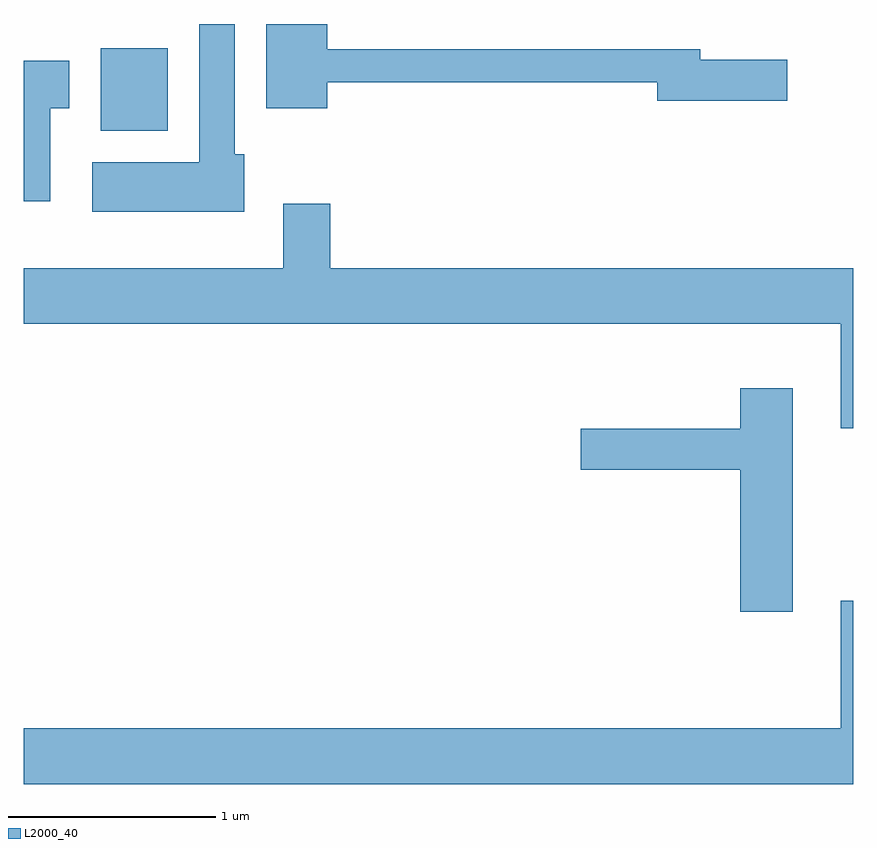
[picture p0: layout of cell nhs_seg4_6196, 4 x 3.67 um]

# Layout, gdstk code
import gdstk
lib = gdstk.Library(unit=1e-6, precision=1e-09)
def R(c, l, rs):  # rectangles x0, y0, x1, y1
    for r in rs: c.add(gdstk.rectangle(r[:2], r[2:], *l))
def P(c, l, *ps):  # polygons
    for p in ps: c.add(gdstk.Polygon(p, *l))
L2000_40 = (2000, 40)

nhs_seg4_6196 = lib.new_cell('nhs_seg4_6196')
R(nhs_seg4_6196, L2000_40, [(367.981,1273.466,368.304,1273.864)])
P(nhs_seg4_6196, L2000_40, [(368.674,1273.354),(368.629,1273.354),(368.629,1273.982),(368.456,1273.982),(368.456,1273.314),(367.941,1273.314),(367.941,1273.076),(368.674,1273.076)],
  [(369.074,1273.701),(370.666,1273.701),(370.666,1273.611),(371.294,1273.611),(371.294,1273.809),(370.874,1273.809),(370.874,1273.859),(369.074,1273.859),(369.074,1273.982),(368.781,1273.982),(368.781,1273.576),(369.074,1273.576)],
  [(367.739,1273.576),(367.829,1273.576),(367.829,1273.804),(367.611,1273.804),(367.611,1273.126),(367.739,1273.126)],
  [(371.611,1272.804),(369.089,1272.804),(369.089,1273.114),(368.861,1273.114),(368.861,1272.804),(367.611,1272.804),(367.611,1272.536),(371.551,1272.536),(371.551,1272.031),(371.611,1272.031)],
  [(371.319,1272.224),(371.066,1272.224),(371.066,1272.029),(370.296,1272.029),(370.296,1271.831),(371.066,1271.831),(371.066,1271.146),(371.319,1271.146)],
  [(371.611,1271.199),(371.551,1271.199),(371.551,1270.584),(367.611,1270.584),(367.611,1270.316),(371.611,1270.316)])

lib.write_gds('nhs_seg4_6196.gds')
